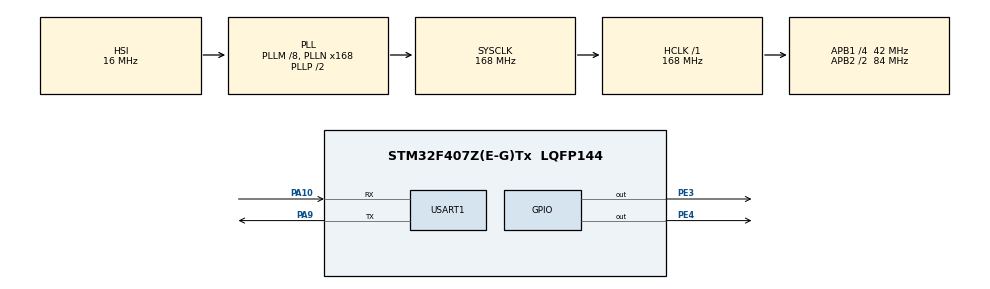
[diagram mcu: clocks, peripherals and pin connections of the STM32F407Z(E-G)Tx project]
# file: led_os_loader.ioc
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FREERTOS.Tasks01=defaultTask,0,128,StartDefaultTask,Default,NULL,Dynamic,NULL,NULL
FREERTOS.configCHECK_FOR_STACK_OVERFLOW=2
FREERTOS.configUSE_STATS_FORMATTING_FUNCTIONS=1
FREERTOS.configUSE_TRACE_FACILITY=1
Mcu.Family=STM32F4
Mcu.Name=STM32F407Z(E-G)Tx
Mcu.Package=LQFP144
NVIC.PriorityGroup=NVIC_PRIORITYGROUP_4
NVIC.USART1_IRQn=true\:5\:0\:false\:false\:true\:true\:true\:true
PA10.Mode=Asynchronous
PA10.Signal=USART1_RX
PA9.Mode=Asynchronous
PA9.Signal=USART1_TX
PE3.Signal=GPIO_Output
PE4.Signal=GPIO_Output
PH0-OSC_IN.Mode=HSE-External-Oscillator
PH0-OSC_IN.Signal=RCC_OSC_IN
PH1-OSC_OUT.Mode=HSE-External-Oscillator
PH1-OSC_OUT.Signal=RCC_OSC_OUT
ProjectManager.HeapSize=0x200
ProjectManager.StackSize=0x400
ProjectManager.TargetToolchain=STM32CubeIDE
RCC.48MHZClocksFreq_Value=84000000
RCC.AHBFreq_Value=168000000
RCC.APB1CLKDivider=RCC_HCLK_DIV4
RCC.APB1Freq_Value=42000000
RCC.APB1TimFreq_Value=84000000
RCC.APB2CLKDivider=RCC_HCLK_DIV2
RCC.APB2Freq_Value=84000000
RCC.APB2TimFreq_Value=168000000
RCC.CortexFreq_Value=168000000
RCC.HCLKFreq_Value=168000000
RCC.HSE_VALUE=8000000
RCC.HSI_VALUE=16000000
RCC.LSE_VALUE=32768
RCC.PLLM=8
RCC.PLLN=168
RCC.SYSCLKFreq_VALUE=168000000
RCC.SYSCLKSource=RCC_SYSCLKSOURCE_PLLCLK
RCC.VCOOutputFreq_Value=336000000
USART1.VirtualMode=VM_ASYNC
VP_FREERTOS_VS_CMSIS_V1.Mode=CMSIS_V1
board=custom

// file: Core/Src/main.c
/* USER CODE BEGIN Header */
/**
  ******************************************************************************
  * @file           : main.c
  * @brief          : Main program body
  ******************************************************************************
  * @attention
  *
  * <h2><center>&copy; Copyright (c) 2024 STMicroelectronics.
  * All rights reserved.</center></h2>
  *
  * This software component is licensed by ST under BSD 3-Clause license,
  * the "License"; You may not use this file except in compliance with the
  * License. You may obtain a copy of the License at:
  *                        opensource.org/licenses/BSD-3-Clause
  *
  ******************************************************************************
  */
/* USER CODE END Header */
#include "main.h"
#include "cmsis_os.h"
#include "usart.h"
#include "gpio.h"

/* USER CODE BEGIN Includes */

#include "iap.h"
#include "delay.h"
#include "led.h"
#include "stmflash.h"

/* USER CODE END Includes */

void SystemClock_Config(void);
void MX_FREERTOS_Init(void);

/* USER CODE BEGIN 0 */

void Check_update()
{
	  uint32_t cnt = 0;
	  while(cnt<10)
	  {
		  cnt++;
		  HAL_Delay(500);
		  printf("HAL_Delay cnt  = %d\n\n", cnt);

		PrintFlashTest(128,FLASH_APP1_ADDR);

		if(((*(vu32*)(FLASH_APP1_ADDR+4))&0xFF000000)==0x08000000)//判断是否�????0X08XXXXXX.
		{
			iap_load_app(FLASH_APP1_ADDR);//执行FLASH APP代码
		}else
		{
	//						printf("非FLASH应用程序,无法执行!\r\n");
	//						LCD_ShowString(30,210,200,16,16,"Illegal FLASH APP!");
			printf("--FLASH_APP1_ADDR  : 0x%x\r\n", ((*(vu32*)(FLASH_APP1_ADDR))));
			printf("--FLASH_APP1_ADDR+4: 0x%x\r\n", ((*(vu32*)(FLASH_APP1_ADDR+4))));
			printf("--can not execute app, it is not flash app\r\n");
		}

	  }
}

/* USER CODE END 0 */

int main(void)
{

  /* MCU Configuration--------------------------------------------------------*/

  /* Reset of all peripherals, Initializes the Flash interface and the Systick. */
  HAL_Init();

  /* Configure the system clock */
  SystemClock_Config();

  /* Initialize all configured peripherals */
  MX_GPIO_Init();
  MX_USART1_UART_Init();
  /* USER CODE BEGIN 2 */

  printf("\n\nbuilt: %s %s",__TIME__,__DATE__);
  printf("\n\n\n\n");

  printf("MX_USART1_UART_Init finish!\n\n");
  printf("Check_update begin!\n\n");
  Check_update();

  /* USER CODE END 2 */

  /* Call init function for freertos objects (in freertos.c) */
  MX_FREERTOS_Init();
  /* Start scheduler */
  osKernelStart();

  /* We should never get here as control is now taken by the scheduler */
  /* Infinite loop */
  while (1)
  {

  }
}

void SystemClock_Config(void)
{
  RCC_OscInitTypeDef RCC_OscInitStruct = {0};
  RCC_ClkInitTypeDef RCC_ClkInitStruct = {0};

  /** Configure the main internal regulator output voltage
  */
  __HAL_RCC_PWR_CLK_ENABLE();
  __HAL_PWR_VOLTAGESCALING_CONFIG(PWR_REGULATOR_VOLTAGE_SCALE1);
  /** Initializes the RCC Oscillators according to the specified parameters
  * in the RCC_OscInitTypeDef structure.
  */
  RCC_OscInitStruct.OscillatorType = RCC_OSCILLATORTYPE_HSI;
  RCC_OscInitStruct.HSIState = RCC_HSI_ON;
  RCC_OscInitStruct.HSICalibrationValue = RCC_HSICALIBRATION_DEFAULT;
  RCC_OscInitStruct.PLL.PLLState = RCC_PLL_ON;
  RCC_OscInitStruct.PLL.PLLSource = RCC_PLLSOURCE_HSI;
  RCC_OscInitStruct.PLL.PLLM = 8;
  RCC_OscInitStruct.PLL.PLLN = 168;
  RCC_OscInitStruct.PLL.PLLP = RCC_PLLP_DIV2;
  RCC_OscInitStruct.PLL.PLLQ = 4;
  if (HAL_RCC_OscConfig(&RCC_OscInitStruct) != HAL_OK)
  {
    Error_Handler();
  }
  /** Initializes the CPU, AHB and APB buses clocks
  */
  RCC_ClkInitStruct.ClockType = RCC_CLOCKTYPE_HCLK|RCC_CLOCKTYPE_SYSCLK
                              |RCC_CLOCKTYPE_PCLK1|RCC_CLOCKTYPE_PCLK2;
  RCC_ClkInitStruct.SYSCLKSource = RCC_SYSCLKSOURCE_PLLCLK;
  RCC_ClkInitStruct.AHBCLKDivider = RCC_SYSCLK_DIV1;
  RCC_ClkInitStruct.APB1CLKDivider = RCC_HCLK_DIV4;
  RCC_ClkInitStruct.APB2CLKDivider = RCC_HCLK_DIV2;

  if (HAL_RCC_ClockConfig(&RCC_ClkInitStruct, FLASH_LATENCY_5) != HAL_OK)
  {
    Error_Handler();
  }
}

void Error_Handler(void)
{
  __disable_irq();
  while (1)
  {
  }
}

/************************ (C) COPYRIGHT STMicroelectronics *****END OF FILE****/

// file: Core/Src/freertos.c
/* USER CODE BEGIN Header */
/**
  ******************************************************************************
  * File Name          : freertos.c
  * Description        : Code for freertos applications
  ******************************************************************************
  * @attention
  *
  * <h2><center>&copy; Copyright (c) 2024 STMicroelectronics.
  * All rights reserved.</center></h2>
  *
  * This software component is licensed by ST under Ultimate Liberty license
  * SLA0044, the "License"; You may not use this file except in compliance with
  * the License. You may obtain a copy of the License at:
  *                             www.st.com/SLA0044
  *
  ******************************************************************************
  */
/* USER CODE END Header */

#include "FreeRTOS.h"
#include "task.h"
#include "main.h"
#include "cmsis_os.h"

/* USER CODE BEGIN Includes */

#include "iap.h"
#include "delay.h"
#include "led.h"
#include "stmflash.h"

#include "usart.h"

/* USER CODE END Includes */

osThreadId defaultTaskHandle;

/* USER CODE BEGIN FunctionPrototypes */

osThreadId uart1TaskHandle;

void Uart1RecvTask(void const * argument);

/* USER CODE END FunctionPrototypes */

void StartDefaultTask(void const * argument);

void MX_FREERTOS_Init(void); /* (MISRA C 2004 rule 8.1) */

/* GetIdleTaskMemory prototype (linked to static allocation support) */
void vApplicationGetIdleTaskMemory( StaticTask_t **ppxIdleTaskTCBBuffer, StackType_t **ppxIdleTaskStackBuffer, uint32_t *pulIdleTaskStackSize );

/* Hook prototypes */
void vApplicationStackOverflowHook(xTaskHandle xTask, signed char *pcTaskName);

/* USER CODE BEGIN 4 */
__weak void vApplicationStackOverflowHook(xTaskHandle xTask, signed char *pcTaskName)
{
   /* Run time stack overflow checking is performed if
   configCHECK_FOR_STACK_OVERFLOW is defined to 1 or 2. This hook function is
   called if a stack overflow is detected. */
}
/* USER CODE END 4 */

/* USER CODE BEGIN GET_IDLE_TASK_MEMORY */
static StaticTask_t xIdleTaskTCBBuffer;
static StackType_t xIdleStack[configMINIMAL_STACK_SIZE];

void vApplicationGetIdleTaskMemory( StaticTask_t **ppxIdleTaskTCBBuffer, StackType_t **ppxIdleTaskStackBuffer, uint32_t *pulIdleTaskStackSize )
{
  *ppxIdleTaskTCBBuffer = &xIdleTaskTCBBuffer;
  *ppxIdleTaskStackBuffer = &xIdleStack[0];
  *pulIdleTaskStackSize = configMINIMAL_STACK_SIZE;
  /* place for user code */
}
/* USER CODE END GET_IDLE_TASK_MEMORY */

void MX_FREERTOS_Init(void) {

  /* Create the thread(s) */
  /* definition and creation of defaultTask */
  osThreadDef(defaultTask, StartDefaultTask, osPriorityNormal, 0, 128);
  defaultTaskHandle = osThreadCreate(osThread(defaultTask), NULL);

  /* USER CODE BEGIN RTOS_THREADS */

  osThreadDef(uart1Task, Uart1RecvTask, osPriorityHigh, 0, 1024);
  uart1TaskHandle = osThreadCreate(osThread(uart1Task), NULL);

  /* add threads, ... */
  /* USER CODE END RTOS_THREADS */

}

void StartDefaultTask(void const * argument)
{
  /* USER CODE BEGIN StartDefaultTask */
  /* Infinite loop */
  for(;;)
  {
	  printf("StartDefaultTask\r\n");
	  osDelay(1000);
  }
  /* USER CODE END StartDefaultTask */
}

/* USER CODE BEGIN Application */

void Uart1RecvTask(void const * argument)
{

	uint16_t t = 0;
	uint32_t oldcount=0;	//老的串口接收数据�????
	uint32_t applenth=0;	//接收到的app代码长度

	for(;;)
	{
		if(USART_RX_CNT)
		{
//			printf("USART_RX_CNT = %d, oldcount = %d\n\n", USART_RX_CNT, oldcount);
			if(oldcount==USART_RX_CNT)//新周期内,没有收到任何数据,认为本次数据接收完成.
			{
				applenth = USART_RX_CNT;
				oldcount = 0;
				USART_RX_CNT = 0;
//				printf("用户程序接收完成!\r\n");
//				printf("代码长度:%dBytes\r\n",applenth);
				printf("app receive finish!\r\n");
				printf("app length:%d Bytes\r\n",applenth);

//				printf("USART_RX_BUF:\r\n");
//				for(int i = 0; i < 8; i++)
//					printf("0x%x ", USART_REC_BUF[i]);
//				printf("\n\n");
//				printf("flash data before:\n");
//				PrintFlashTest(4,FLASH_APP1_ADDR);

				// recv finish, and write app data to flash
//				printf("�????始更新固�????...\r\n");
//				LCD_ShowString(30,210,200,16,16,"Copying APP2FLASH...");
				printf("begin update app\r\n");
//				if(((*(vu32*)(0X20001000+4))&0xFF000000)==0x08000000)//判断是否�????0X08XXXXXX.
				printf("ram addr data:0x%x\r\n", ((*(vu32*)(0x68000000))) );

				for(int i= 0; i < 4; i++)
				{
					printf("i = 0x%x, ramdata =  0x%x\r\n", i, ((*(vu32*)(0x68000000+4*i))));
				}

				printf("iap_write_appbin begin ...\r\n");
//				if(((*(vu32*)(0x68000000+4))&0xFF000000)==0x08000000)//判断是否�????0X08XXXXXX.
				if(((*(vu32*)(0x10000000+4))&0xFF000000)==0x08000000)//判断是否�????0X08XXXXXX.
				{
					iap_write_appbin(FLASH_APP1_ADDR, USART_REC_BUF, applenth);//更新FLASH代码   applenth
//					uint32_t addr_offset = 0;
//					for(uint32_t i = 0; i< applenth/2048; i++)
//					{
//						addr_offset += i*2048;
//						iap_write_appbin(FLASH_APP1_ADDR+addr_offset, &USART_REC_BUF[addr_offset], 2048);//更新FLASH代码   applenth
//					}
//					addr_offset += 2048;
//					iap_write_appbin(FLASH_APP1_ADDR+addr_offset, &USART_REC_BUF[addr_offset], applenth%2048);//更新FLASH代码   applenth
//					LCD_ShowString(30,210,200,16,16,"Copy APP Successed!!");
//					printf("固件更新完成!\r\n");
					printf("iap_write_appbin finish\r\n");

//					for(int i =0 ;i <8; i++)
//						printf("0x%x ", USART_REC_BUF[i]);
//					printf("\n\n\n");
//					PrintFlashTest(100,FLASH_APP1_ADDR);
//					delay_ms(500);

					for(int i= 0; i < applenth/4; i++)
					{
						printf("ADDR = 0x%x, data =  0x%x\r\n", FLASH_APP1_ADDR+4*i, ((*(vu32*)(FLASH_APP1_ADDR+4*i))));
					}

					//start run app
//					printf("�????始执行FLASH用户代码!!\r\n");
					printf("iap_load_app begin \r\n");

					printf("FLASH_APP1_ADDR  : 0x%x\r\n", ((*(vu32*)(FLASH_APP1_ADDR))));
					printf("FLASH_APP1_ADDR+4: 0x%x\r\n", ((*(vu32*)(FLASH_APP1_ADDR+4))));

					if(((*(vu32*)(FLASH_APP1_ADDR+4))&0xFF000000)==0x08000000)//判断是否�????0X08XXXXXX.
					{
//						iap_load_app(FLASH_APP1_ADDR);//执行FLASH APP代码
						BSPJumpToReset(FLASH_APP1_ADDR);
					}else
					{
//						printf("非FLASH应用程序,无法执行!\r\n");
//						LCD_ShowString(30,210,200,16,16,"Illegal FLASH APP!");
						printf("--FLASH_APP1_ADDR  : 0x%x\r\n", ((*(vu32*)(FLASH_APP1_ADDR))));
						printf("--FLASH_APP1_ADDR+4: 0x%x\r\n", ((*(vu32*)(FLASH_APP1_ADDR+4))));
						printf("--can not execute app, it is not flash app\r\n");
					}

				}else
				{
//					LCD_ShowString(30,210,200,16,16,"Illegal FLASH APP!  ");
//					printf("非FLASH应用程序!\r\n");
					printf("can not update app, it is not flash app\r\n");
				}

			}else  oldcount = USART_RX_CNT;
		}

		t++;
//		delay_ms(20);
//		HAL_Delay(20);
		osDelay(20);
		if(t==30)
		{
//			printf("LED0 ... \n\n");
			LED0=!LED0;
			t=0;
		}
	}

}

/* USER CODE END Application */

/************************ (C) COPYRIGHT STMicroelectronics *****END OF FILE****/
